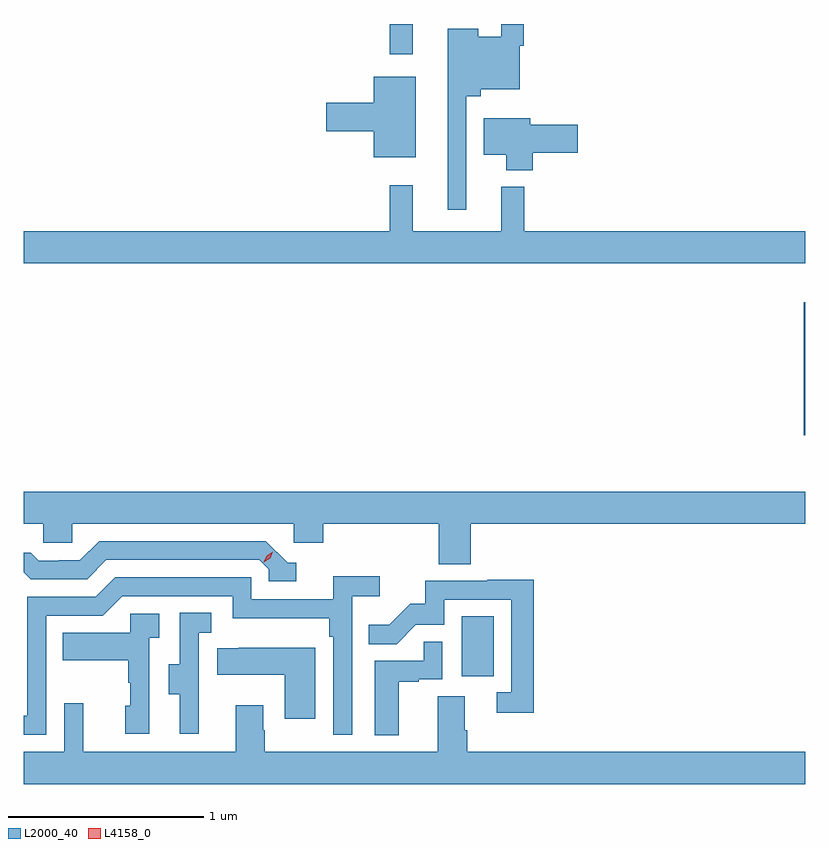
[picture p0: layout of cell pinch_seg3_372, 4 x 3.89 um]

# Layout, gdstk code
import gdstk
lib = gdstk.Library(unit=1e-6, precision=1e-09)
def R(c, l, rs):  # rectangles x0, y0, x1, y1
    for r in rs: c.add(gdstk.rectangle(r[:2], r[2:], *l))
def P(c, l, *ps):  # polygons
    for p in ps: c.add(gdstk.Polygon(p, *l))
L2000_40 = (2000, 40)
L4158_0 = (4158, 0)

pinch_seg3_372 = lib.new_cell('pinch_seg3_372')
R(pinch_seg3_372, L2000_40, [(962.564,705.462,962.728,705.769), (964.315,706.696,964.323,707.377), (962.197,708.645,962.314,708.8)])
P(pinch_seg3_372, L2000_40, [(962.589,708.431),(962.663,708.431),(962.663,708.467),(962.862,708.467),(962.862,708.689),(962.882,708.689),(962.882,708.8),(962.766,708.8),(962.766,708.736),(962.65,708.736),(962.65,708.775),(962.492,708.775),(962.492,707.85),(962.589,707.85)],
  [(962.329,708.529),(962.114,708.529),(962.114,708.398),(961.872,708.398),(961.872,708.251),(962.114,708.251),(962.114,708.119),(962.329,708.119)],
  [(962.927,708.142),(963.157,708.142),(963.157,708.284),(962.914,708.284),(962.914,708.319),(962.678,708.319),(962.678,708.131),(962.792,708.131),(962.792,708.053),(962.927,708.053)],
  [(964.323,707.74),(962.885,707.74),(962.885,707.968),(962.768,707.968),(962.768,707.74),(962.315,707.74),(962.315,707.974),(962.197,707.974),(962.197,707.74),(960.323,707.74),(960.323,707.576),(964.323,707.576)],
  [(962.612,706.244),(964.323,706.244),(964.323,706.408),(960.323,706.408),(960.323,706.244),(960.423,706.244),(960.423,706.146),(960.573,706.146),(960.573,706.244),(961.704,706.244),(961.704,706.146),(961.856,706.146),(961.856,706.244),(962.447,706.244),(962.447,706.036),(962.612,706.036)],
  [(961.717,706.044),(961.674,706.044),(961.563,706.155),(960.71,706.155),(960.611,706.056),(960.504,706.056),(960.504,706.053),(960.401,706.053),(960.359,706.096),(960.323,706.096),(960.323,705.996),(960.359,705.96),(960.648,705.96),(960.747,706.059),(961.53,706.059),(961.578,706.011),(961.578,705.948),(961.717,705.948)],
  [(960.438,705.774),(960.729,705.774),(960.828,705.873),(961.392,705.873),(961.392,705.761),(961.888,705.761),(961.888,705.665),(961.908,705.665),(961.908,705.165),(962.004,705.165),(962.004,705.872),(962.146,705.872),(962.146,705.974),(961.907,705.974),(961.907,705.858),(961.488,705.858),(961.488,705.969),(960.791,705.969),(960.692,705.87),(960.342,705.87),(960.342,705.261),(960.323,705.261),(960.323,705.165),(960.438,705.165)],
  [(962.933,705.956),(962.695,705.956),(962.695,705.951),(962.377,705.951),(962.377,705.834),(962.3,705.834),(962.193,705.727),(962.089,705.727),(962.089,705.628),(962.232,705.628),(962.33,705.726),(962.475,705.726),(962.475,705.855),(962.817,705.855),(962.817,705.381),(962.745,705.381),(962.745,705.276),(962.933,705.276)],
  [(961.22,705.381),(961.218,705.381),(961.218,705.685),(961.282,705.685),(961.282,705.788),(961.122,705.788),(961.122,705.525),(961.067,705.525),(961.067,705.37),(961.121,705.37),(961.121,705.168),(961.22,705.168)],
  [(960.966,705.659),(961.018,705.659),(961.018,705.783),(960.87,705.783),(960.87,705.685),(960.523,705.685),(960.523,705.545),(960.858,705.545),(960.858,705.431),(960.868,705.431),(960.868,705.312),(960.842,705.312),(960.842,705.168),(960.966,705.168)],
  [(962.242,705.435),(962.345,705.435),(962.345,705.447),(962.466,705.447),(962.466,705.641),(962.371,705.641),(962.371,705.543),(962.12,705.543),(962.12,705.161),(962.242,705.161)],
  [(961.816,705.61),(961.423,705.61),(961.423,705.607),(961.315,705.607),(961.315,705.47),(961.658,705.47),(961.658,705.246),(961.816,705.246)],
  [(964.323,705.076),(962.594,705.076),(962.594,705.188),(962.581,705.188),(962.581,705.362),(962.441,705.362),(962.441,705.076),(961.557,705.076),(961.557,705.188),(961.549,705.188),(961.549,705.316),(961.409,705.316),(961.409,705.076),(960.629,705.076),(960.629,705.325),(960.531,705.325),(960.531,705.076),(960.323,705.076),(960.323,704.912),(964.323,704.912)])
P(pinch_seg3_372, L4158_0, [(961.553,706.046),(961.553,706.046),(961.568,706.079),(961.599,706.099),(961.599,706.099),(961.599,706.099),(961.584,706.066),(961.553,706.046)])

lib.write_gds('pinch_seg3_372.gds')
